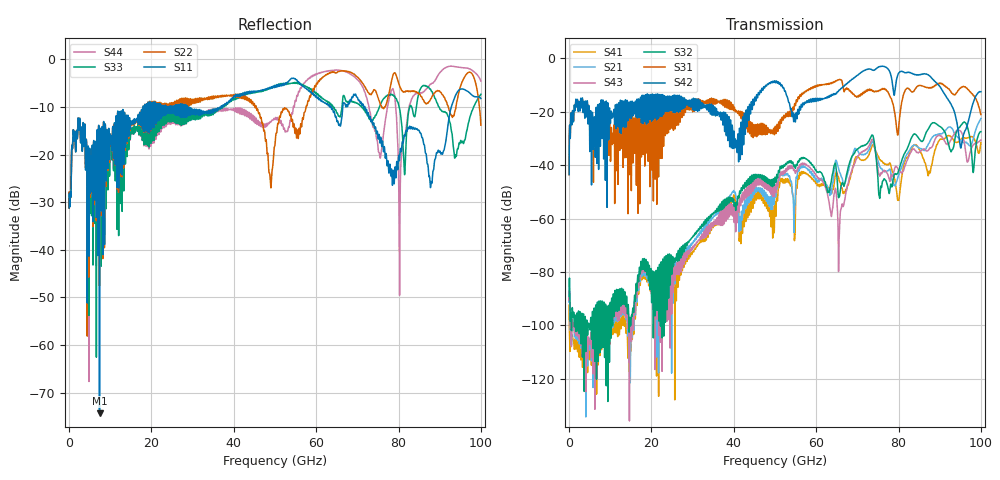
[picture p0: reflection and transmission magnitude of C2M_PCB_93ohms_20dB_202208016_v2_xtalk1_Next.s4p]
! Info: Touchstone file created by Circ.  Input file=Intel_C2M_200G_7p0in_202208016_staggered.circ
# Hz S RI R 50
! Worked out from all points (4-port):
!   10000 points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, 10 MHz to 100 GHz, reference 50 ohm
!   strongest paths, dB at 10 MHz, 25.01 GHz, 50.01 GHz, 75.01 GHz, 100 GHz:
!     S42: -43.5, -16.7, -8.5, -3.4, -12.5
!     S31: -43.6, -21.2, -26.0, -12.4, -21.0
!     S32: -89.1, -78.7, -44.5, -45.1, -27.5
!     S43: -89.9, -81.0, -47.9, -41.5, -30.6
!     S21: -90.3, -77.8, -48.9, -38.3, -22.5
!     S41: -92.4, -77.5, -53.7, -36.7, -31.6
!   lowest |S11| = -74.4 dB at 7.39 GHz (marker M1), VSWR 1.00, Z = 50 - j0.0127 ohm
!   |S11| at or under -10 dB: start of sweep to 17.99 GHz; 28.74 GHz to 36.9 GHz (8.151 GHz wide, 24.8 % of centre); 71.83 GHz to 92.82 GHz (20.99 GHz wide, 25.5 % of centre)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
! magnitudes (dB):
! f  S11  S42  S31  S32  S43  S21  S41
! 10 MHz  -31.2  -43.5  -43.6  -89.1  -89.9  -90.3  -92.4
! 7.39 GHz  -74.4  -16.9  -19.7  -97.4  -99.2  -100.8  -102.8
! 56.77 GHz  -5.7  -16.9  -13.3  -37.1  -39.2  -40.3  -42.5
! 65.33 GHz  -13.3  -12.5  -8.1  -51.0  -64.6  -40.6  -44.2
! 80.36 GHz  -19.7  -4.9  -20.9  -40.3  -42.7  -42.3  -49.4
! 95.15 GHz  -6.2  -33.5  -11.0  -25.1  -27.4  -30.8  -30.2
! 100 GHz  -8.2  -12.5  -21.0  -27.5  -30.6  -22.5  -31.6
